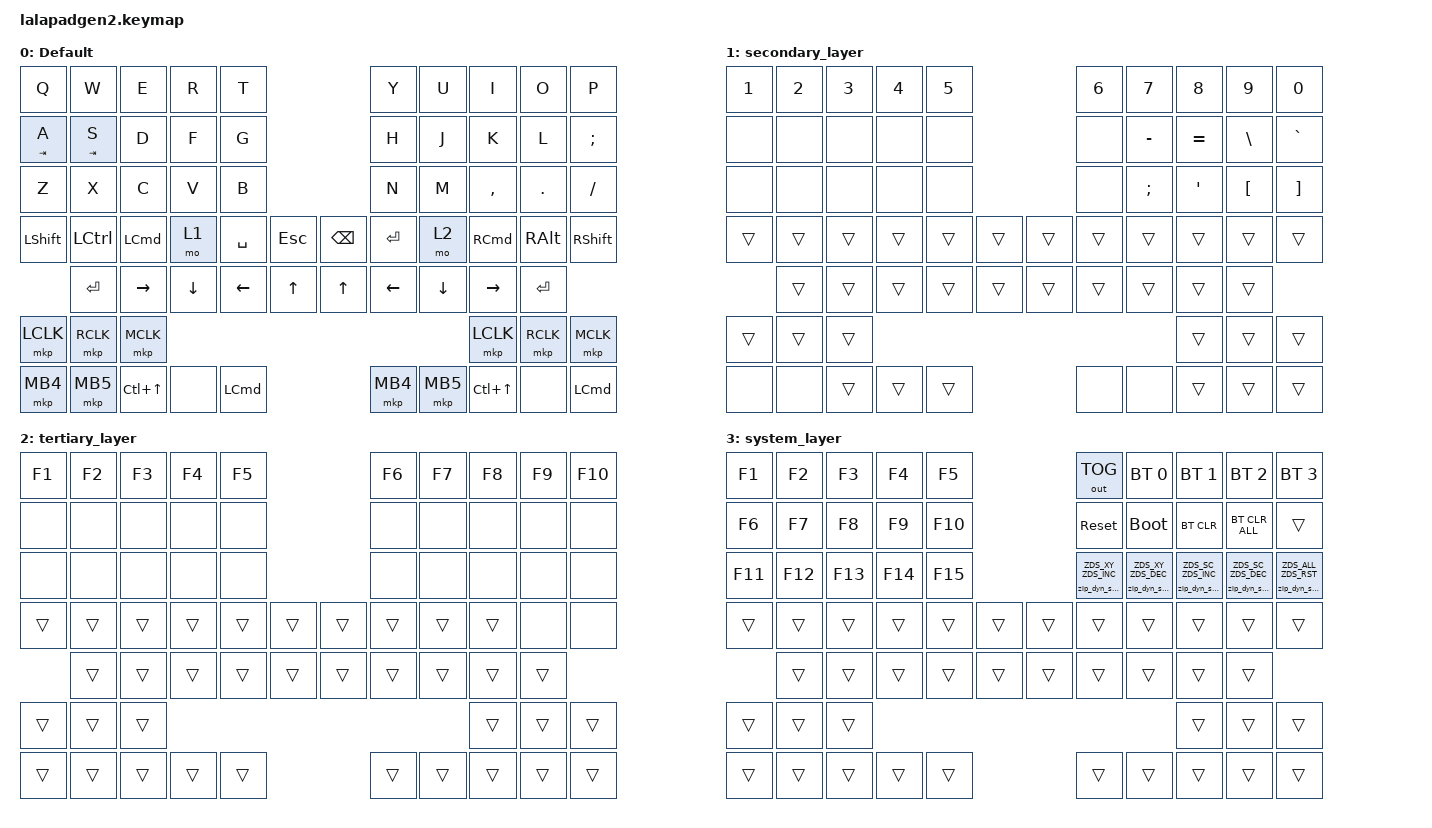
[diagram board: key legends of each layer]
#include <input/processors.dtsi>
#include <dt-bindings/zmk/zip_dynamic_scale.h>
#include <behaviors.dtsi>
#include <dt-bindings/zmk/bt.h>
#include <dt-bindings/zmk/keys.h>
#include <dt-bindings/zmk/outputs.h>
#include <dt-bindings/zmk/pointing.h>

#define DEFAULT_LAYER   0
#define SECONDARY_LAYER 1
#define TERTIARY_LAYER  2
#define SYSTEM_LAYER    3

&mt { quick-tap-ms = <200>; };

&lt { quick-tap-ms = <200>; };

/ {
    behaviors {
        zip_dyn_scale: zip_dyn_scale {
            compatible = "zmk,behavior-zip-dynamic-scale";
            #binding-cells = <2>;
        };

        zip_dyn_scale_set: zip_dyn_scale_set {
            compatible = "zmk,behavior-zip-dynamic-scale-set";
            #binding-cells = <2>;
        };

        mt2: mod_tap2 {
            compatible = "zmk,behavior-hold-tap";
            #binding-cells = <2>;
            flavor = "tap-preferred";
            tapping-term-ms = <200>;
            quick-tap-ms = <200>;
            require-prior-idle-ms = <125>;
            bindings = <&kp>, <&kp>;
        };

        tap_dance_layer_1and2: tap_dance_layer_1and2 {
            compatible = "zmk,behavior-tap-dance";
            label = "td_mo12";
            #binding-cells = <0>;
            bindings = <&mo 1>, <&mo 2>;
        };
    };

    keymap {
        compatible = "zmk,keymap";

        DEFAULT_LAYER {
            display-name = "Default";
            bindings = <
&kp Q          &kp W          &kp E          &kp R          &kp T                                       &kp Y          &kp U          &kp I          &kp O          &kp P
&mt2 TAB A     &mt2 TAB S     &kp D          &kp F          &kp G                                       &kp H          &kp J          &kp K          &kp L          &kp SEMICOLON
&kp Z          &kp X          &kp C          &kp V          &kp B                                       &kp N          &kp M          &kp COMMA      &kp PERIOD     &kp SLASH
&kp LSHFT      &kp LCTRL      &kp LCMD       &mo 1          &kp SPACE      &kp ESC        &kp BACKSPACE  &kp ENTER  &mo 2          &kp RCMD       &kp RALT       &kp RSHFT

               &kp ENTER      &kp RIGHT      &kp DOWN       &kp LEFT       &kp UP        &kp UP         &kp LEFT       &kp DOWN       &kp RIGHT      &kp ENTER

// 左/右トラックパッド: 1本指タップ -> LCLK、2本指タップ -> RCLK、3本指タップ -> MCLK
&mkp LCLK      &mkp RCLK      &mkp MCLK                                                                                               &mkp LCLK      &mkp RCLK      &mkp MCLK
// 左/右トラックパッド: 3本指左スワイプ -> MB4、3本指右スワイプ -> MB5、3本指上スワイプ -> Ctrl+Up、3本指下スワイプ -> none、ピンチ -> LCmd
&mkp MB4       &mkp MB5       &kp LC(UP_ARROW)  &none       &kp LCMD                                    &mkp MB4       &mkp MB5       &kp LC(UP_ARROW)  &none       &kp LCMD
            >;
        };

        SECONDARY_LAYER {
            display-name = "secondary_layer";
            bindings = <
&kp N1         &kp N2         &kp N3         &kp N4         &kp N5                                      &kp N6         &kp N7         &kp N8         &kp N9         &kp N0
&none          &none          &none          &none          &none                                       &none          &kp MINUS      &kp EQUAL      &kp BSLH       &kp GRAVE
&none          &none          &none          &none          &none                                       &none          &kp SEMI       &kp SQT        &kp LBKT       &kp RBKT
&trans         &trans         &trans         &trans         &trans         &trans        &trans         &trans         &trans         &trans         &trans         &trans

               &trans         &trans         &trans         &trans         &trans        &trans         &trans         &trans         &trans         &trans

&trans         &trans         &trans                                                                                                  &trans         &trans         &trans
&none          &none          &trans         &trans         &trans                                      &none          &none          &trans         &trans         &trans
            >;
        };

        TERTIARY_LAYER {
            display-name = "tertiary_layer";
            bindings = <
&kp F1         &kp F2         &kp F3         &kp F4         &kp F5                                      &kp F6         &kp F7         &kp F8         &kp F9         &kp F10
&none          &none          &none          &none          &none                                       &none          &none          &none          &none          &none
&none          &none          &none          &none          &none                                       &none          &none          &none          &none          &none
&trans         &trans         &trans         &trans         &trans         &trans        &trans         &trans         &trans         &trans         &none          &none

               &trans         &trans         &trans         &trans         &trans        &trans         &trans         &trans         &trans         &trans

&trans         &trans         &trans                                                                                                  &trans         &trans         &trans
&trans         &trans         &trans         &trans         &trans                                      &trans         &trans         &trans         &trans         &trans
            >;
        };

        SYSTEM_LAYER {
            display-name = "system_layer";
            // OUT_TOG: USB/BLEの出力先を切り替え。
            // BT_SEL 0-3: Bluetoothプロファイル0-3を選択。
            // sys_reset: ファームウェアを再起動。
            // bootloader: ファームウェア書き込み用のbootloaderを起動。
            // BT_CLR: 現在のBluetoothプロファイルのペアリングを削除。
            // BT_CLR_ALL: 全Bluetoothプロファイルのペアリングを削除。
            // ZDS_XY INC/DEC: ポインター速度を上げる/下げる。
            // ZDS_SC INC/DEC: スクロール速度を上げる/下げる。
            // ZDS_ALL RST: ポインター/スクロール速度をリセット。
            bindings = <
&kp F1   &kp F2   &kp F3   &kp F4   &kp F5                   &out OUT_TOG                   &bt BT_SEL 0                   &bt BT_SEL 1                   &bt BT_SEL 2                   &bt BT_SEL 3
&kp F6   &kp F7   &kp F8   &kp F9   &kp F10                  &sys_reset                     &bootloader                    &bt BT_CLR                     &bt BT_CLR_ALL                 &trans
&kp F11  &kp F12  &kp F13  &kp F14  &kp F15                  &zip_dyn_scale ZDS_XY ZDS_INC  &zip_dyn_scale ZDS_XY ZDS_DEC  &zip_dyn_scale ZDS_SC ZDS_INC  &zip_dyn_scale ZDS_SC ZDS_DEC  &zip_dyn_scale ZDS_ALL ZDS_RST
&trans   &trans   &trans   &trans   &trans   &trans  &trans  &trans                         &trans                         &trans                         &trans                         &trans
         &trans   &trans   &trans   &trans   &trans  &trans  &trans                         &trans                         &trans                         &trans
&trans   &trans   &trans                                                                                                   &trans                         &trans                         &trans
&trans   &trans   &trans   &trans   &trans                   &trans                         &trans                         &trans                         &trans                         &trans
            >;
        };
    };

    conditional_layers {
        compatible = "zmk,conditional-layers";

        Cond_Syslayer {
            if-layers = <1 2>;
            then-layer = <3>;
        };
    };
};
